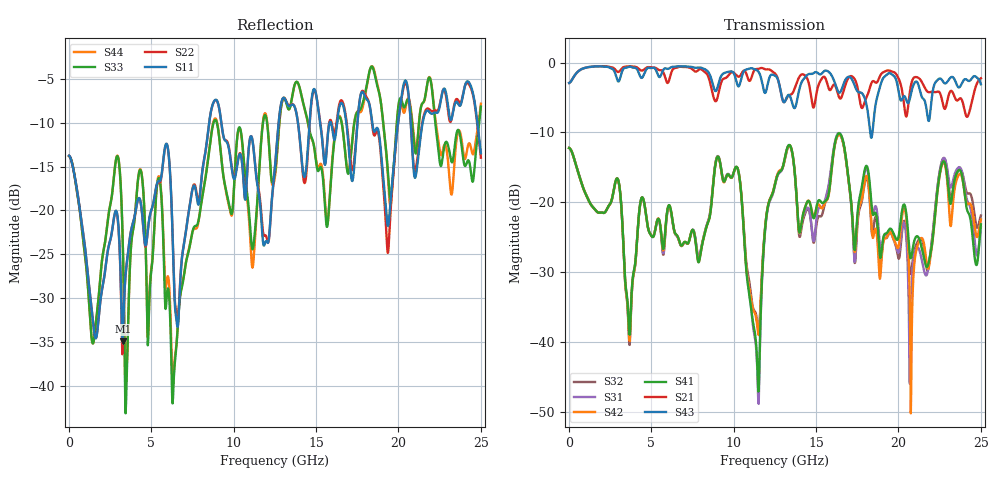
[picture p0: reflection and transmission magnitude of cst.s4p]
! R_s4_rect_2v: Finite board 24 × 16 mm, two vias L1 → L4 9.9 mm apart sharing the L2/L3 cavity, no return via
! stackup: 4-layer 1.6 mm FR-4
! ports: 1 L1, 2 L4, 3 L1, 4 L4
! CST Studio Suite 2025.5 Release from 2025-05-30, time domain (FIT, hexahedral, PBA), 314678 mesh cells, 122 s
! mesh: {'lpw': 20, 'lpb': 20, 'minstep': 0.0, 'ratio': 20}; ports: port 1 (face); port 2 (face); port 3 (face); port 4 (face)
! interpolated from CST's 1001 samples to the case grid
# Hz S RI R 50
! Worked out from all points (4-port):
!   1000 points, 25 MHz to 25 GHz, reference 50 ohm
!   strongest paths, dB at 25 MHz, 6.275 GHz, 12.53 GHz, 18.77 GHz, 25 GHz:
!     S43: -2.9, -0.6, -1.9, -4.4, -3.1
!     S21: -2.9, -1.1, -1.6, -2.5, -2.2
!     S41: -12.2, -22.2, -17.3, -24.5, -23.2
!     S42: -12.2, -22.3, -17.2, -27.5, -22.5
!     S31: -12.2, -22.4, -17.4, -23.1, -23.6
!     S32: -12.2, -22.4, -17.3, -25.0, -21.9
!   lowest |S11| = -34.9 dB at 3.275 GHz (marker M1), VSWR 1.04, Z = 51.8 - j0.102 ohm
!   |S11| at or under -10 dB: start of sweep to 8.518 GHz; 9.26 GHz to 12.73 GHz (3.472 GHz wide, 31.6 % of centre); 18.41 GHz to 19.98 GHz (1.563 GHz wide, 8.14 % of centre)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
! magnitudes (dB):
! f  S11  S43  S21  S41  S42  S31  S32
! 25 MHz  -13.7  -2.9  -2.9  -12.2  -12.2  -12.2  -12.2
! 3.275 GHz  -34.9  -1.0  -0.7  -24.0  -24.0  -24.0  -24.1
! 6.35 GHz  -25.9  -0.6  -0.9  -23.4  -23.5  -23.5  -23.6
! 10.2 GHz  -15.1  -2.9  -1.9  -14.9  -15.0  -15.0  -15.0
! 11.47 GHz  -17.4  -1.2  -0.9  -45.7  -38.6  -46.8  -37.9
! 13.35 GHz  -8.1  -4.6  -4.7  -11.8  -11.9  -11.8  -12.0
! 25 GHz  -13.5  -3.1  -2.2  -23.2  -22.5  -23.6  -21.9
